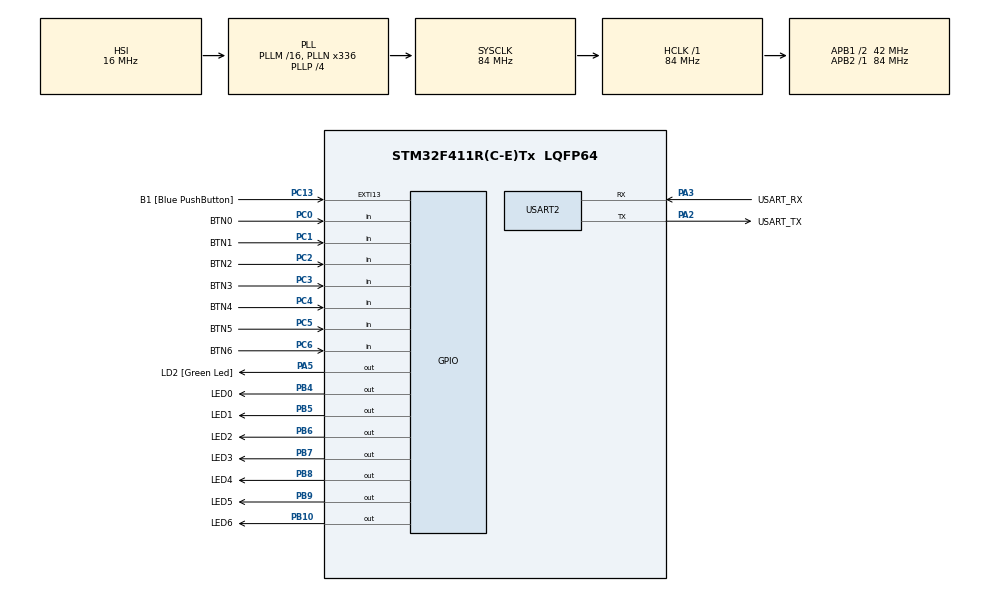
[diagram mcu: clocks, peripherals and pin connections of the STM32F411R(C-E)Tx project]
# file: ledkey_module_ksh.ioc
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Mcu.Family=STM32F4
Mcu.Name=STM32F411R(C-E)Tx
Mcu.Package=LQFP64
NVIC.PriorityGroup=NVIC_PRIORITYGROUP_0
PA13.GPIO_Label=TMS
PA13.Mode=Serial_Wire
PA13.Signal=SYS_JTMS-SWDIO
PA14.GPIO_Label=TCK
PA14.Mode=Serial_Wire
PA14.Signal=SYS_JTCK-SWCLK
PA2.GPIO_Label=USART_TX
PA2.Mode=Asynchronous
PA2.Signal=USART2_TX
PA3.GPIO_Label=USART_RX
PA3.Mode=Asynchronous
PA3.Signal=USART2_RX
PA5.GPIO_Label=LD2 [Green Led]
PA5.Signal=GPIO_Output
PB10.GPIO_Label=LED6
PB10.Signal=GPIO_Output
PB3.GPIO_Label=SWO
PB3.Signal=SYS_JTDO-SWO
PB4.GPIO_Label=LED0
PB4.Signal=GPIO_Output
PB5.GPIO_Label=LED1
PB5.Signal=GPIO_Output
PB6.GPIO_Label=LED2
PB6.Signal=GPIO_Output
PB7.GPIO_Label=LED3
PB7.Signal=GPIO_Output
PB8.GPIO_Label=LED4
PB8.Signal=GPIO_Output
PB9.GPIO_Label=LED5
PB9.Signal=GPIO_Output
PC0.GPIO_Label=BTN0
PC0.Signal=GPIO_Input
PC1.GPIO_Label=BTN1
PC1.Signal=GPIO_Input
PC13-ANTI_TAMP.GPIO_Label=B1 [Blue PushButton]
PC13-ANTI_TAMP.GPIO_ModeDefaultEXTI=GPIO_MODE_IT_FALLING
PC13-ANTI_TAMP.Signal=GPXTI13
PC14-OSC32_IN.Signal=RCC_OSC32_IN
PC15-OSC32_OUT.Signal=RCC_OSC32_OUT
PC2.GPIO_Label=BTN2
PC2.Signal=GPIO_Input
PC3.GPIO_Label=BTN3
PC3.Signal=GPIO_Input
PC4.GPIO_Label=BTN4
PC4.Signal=GPIO_Input
PC5.GPIO_Label=BTN5
PC5.Signal=GPIO_Input
PC6.GPIO_Label=BTN6
PC6.Signal=GPIO_Input
PH0\ -\ OSC_IN.Signal=RCC_OSC_IN
PH1\ -\ OSC_OUT.Signal=RCC_OSC_OUT
ProjectManager.HeapSize=0x200
ProjectManager.StackSize=0x400
ProjectManager.TargetToolchain=STM32CubeIDE
RCC.48MHZClocksFreq_Value=84000000
RCC.AHBFreq_Value=84000000
RCC.APB1CLKDivider=RCC_HCLK_DIV2
RCC.APB1Freq_Value=42000000
RCC.APB1TimFreq_Value=84000000
RCC.APB2Freq_Value=84000000
RCC.APB2TimFreq_Value=84000000
RCC.CortexFreq_Value=84000000
RCC.FLatency-AdvancedSettings=FLASH_LATENCY_2
RCC.HCLKFreq_Value=84000000
RCC.HSE_VALUE=8000000
RCC.HSI_VALUE=16000000
RCC.PLLN=336
RCC.PLLP=RCC_PLLP_DIV4
RCC.SYSCLKFreq_VALUE=84000000
RCC.SYSCLKSource=RCC_SYSCLKSOURCE_PLLCLK
RCC.VCOOutputFreq_Value=336000000
USART2.VirtualMode=VM_ASYNC
board=NUCLEO-F411RE

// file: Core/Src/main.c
/* USER CODE BEGIN Header */
/**
  ******************************************************************************
  * @file           : main.c
  * @brief          : Main program body
  ******************************************************************************
  * @attention
  *
  * Copyright (c) 2025 STMicroelectronics.
  * All rights reserved.
  *
  * This software is licensed under terms that can be found in the LICENSE file
  * in the root directory of this software component.
  * If no LICENSE file comes with this software, it is provided AS-IS.
  *
  ******************************************************************************
  */
/* USER CODE END Header */
#include "main.h"

/* USER CODE BEGIN Includes */
#include <stdio.h>
/* USER CODE END Includes */

/* USER CODE BEGIN PD */
#define LOW 0
#define HIGH 1

#ifdef __GNUC__
/* With GCC, small printf (option LD Linker->Libraries->Small printf
   set to 'Yes') calls __io_putchar() */
#define PUTCHAR_PROTOTYPE int __io_putchar(int ch)
#else
#define PUTCHAR_PROTOTYPE int fputc(int ch, FILE *f)
#endif /* __GNUC__ */
/* USER CODE END PD */

UART_HandleTypeDef huart2;

void SystemClock_Config(void);
static void MX_GPIO_Init(void);
static void MX_USART2_UART_Init(void);
/* USER CODE BEGIN PFP */
int getKeyNumber();
/* USER CODE END PFP */

int main(void)
{

  /* USER CODE BEGIN 1 */
//	int buttonState[7] = {0};
//	int buttonFlag = 0;
//	int buttonStateOld[7] = {0};
	int cnt = 0;
	int keyNumber = 0;
  /* USER CODE END 1 */

  /* MCU Configuration--------------------------------------------------------*/

  /* Reset of all peripherals, Initializes the Flash interface and the Systick. */
  HAL_Init();

  /* Configure the system clock */
  SystemClock_Config();

  /* Initialize all configured peripherals */
  MX_GPIO_Init();
  MX_USART2_UART_Init();
  /* USER CODE BEGIN 2 */
  printf("main() start!! \r\n");
  /* USER CODE END 2 */

  /* Infinite loop */
  /* USER CODE BEGIN WHILE */
  while (1)
  {

	  keyNumber = getKeyNumber();
	  if(keyNumber != 0)
	  {
			  printf("keyNum : %d, cnt : %d\r\n",keyNumber,cnt++);
			  HAL_GPIO_TogglePin(LED_GPIO_Port,keyNumber-1);
	  }

    /* USER CODE END WHILE */

  }
}

void SystemClock_Config(void)
{
  RCC_OscInitTypeDef RCC_OscInitStruct = {0};
  RCC_ClkInitTypeDef RCC_ClkInitStruct = {0};

  /** Configure the main internal regulator output voltage
  */
  __HAL_RCC_PWR_CLK_ENABLE();
  __HAL_PWR_VOLTAGESCALING_CONFIG(PWR_REGULATOR_VOLTAGE_SCALE1);

  /** Initializes the RCC Oscillators according to the specified parameters
  * in the RCC_OscInitTypeDef structure.
  */
  RCC_OscInitStruct.OscillatorType = RCC_OSCILLATORTYPE_HSI;
  RCC_OscInitStruct.HSIState = RCC_HSI_ON;
  RCC_OscInitStruct.HSICalibrationValue = RCC_HSICALIBRATION_DEFAULT;
  RCC_OscInitStruct.PLL.PLLState = RCC_PLL_ON;
  RCC_OscInitStruct.PLL.PLLSource = RCC_PLLSOURCE_HSI;
  RCC_OscInitStruct.PLL.PLLM = 16;
  RCC_OscInitStruct.PLL.PLLN = 336;
  RCC_OscInitStruct.PLL.PLLP = RCC_PLLP_DIV4;
  RCC_OscInitStruct.PLL.PLLQ = 4;
  if (HAL_RCC_OscConfig(&RCC_OscInitStruct) != HAL_OK)
  {
    Error_Handler();
  }

  /** Initializes the CPU, AHB and APB buses clocks
  */
  RCC_ClkInitStruct.ClockType = RCC_CLOCKTYPE_HCLK|RCC_CLOCKTYPE_SYSCLK
                              |RCC_CLOCKTYPE_PCLK1|RCC_CLOCKTYPE_PCLK2;
  RCC_ClkInitStruct.SYSCLKSource = RCC_SYSCLKSOURCE_PLLCLK;
  RCC_ClkInitStruct.AHBCLKDivider = RCC_SYSCLK_DIV1;
  RCC_ClkInitStruct.APB1CLKDivider = RCC_HCLK_DIV2;
  RCC_ClkInitStruct.APB2CLKDivider = RCC_HCLK_DIV1;

  if (HAL_RCC_ClockConfig(&RCC_ClkInitStruct, FLASH_LATENCY_2) != HAL_OK)
  {
    Error_Handler();
  }
}

static void MX_USART2_UART_Init(void)
{

  huart2.Instance = USART2;
  huart2.Init.BaudRate = 115200;
  huart2.Init.WordLength = UART_WORDLENGTH_8B;
  huart2.Init.StopBits = UART_STOPBITS_1;
  huart2.Init.Parity = UART_PARITY_NONE;
  huart2.Init.Mode = UART_MODE_TX_RX;
  huart2.Init.HwFlowCtl = UART_HWCONTROL_NONE;
  huart2.Init.OverSampling = UART_OVERSAMPLING_16;
  if (HAL_UART_Init(&huart2) != HAL_OK)
  {
    Error_Handler();
  }

}

static void MX_GPIO_Init(void)
{
  GPIO_InitTypeDef GPIO_InitStruct = {0};

  /* GPIO Ports Clock Enable */
  __HAL_RCC_GPIOC_CLK_ENABLE();
  __HAL_RCC_GPIOH_CLK_ENABLE();
  __HAL_RCC_GPIOA_CLK_ENABLE();
  __HAL_RCC_GPIOB_CLK_ENABLE();

  /*Configure GPIO pin Output Level */
  HAL_GPIO_WritePin(LD2_GPIO_Port, LD2_Pin, GPIO_PIN_RESET);

  /*Configure GPIO pin Output Level */
  HAL_GPIO_WritePin(GPIOB, LED6_Pin|LED0_Pin|LED1_Pin|LED2_Pin
                          |LED3_Pin|LED4_Pin|LED5_Pin, GPIO_PIN_RESET);

  /*Configure GPIO pin : B1_Pin */
  GPIO_InitStruct.Pin = B1_Pin;
  GPIO_InitStruct.Mode = GPIO_MODE_IT_FALLING;
  GPIO_InitStruct.Pull = GPIO_NOPULL;
  HAL_GPIO_Init(B1_GPIO_Port, &GPIO_InitStruct);

  /*Configure GPIO pins : BTN0_Pin BTN1_Pin BTN2_Pin BTN3_Pin
                           BTN4_Pin BTN5_Pin BTN6_Pin */
  GPIO_InitStruct.Pin = BTN0_Pin|BTN1_Pin|BTN2_Pin|BTN3_Pin
                          |BTN4_Pin|BTN5_Pin|BTN6_Pin;
  GPIO_InitStruct.Mode = GPIO_MODE_INPUT;
  GPIO_InitStruct.Pull = GPIO_NOPULL;
  HAL_GPIO_Init(GPIOC, &GPIO_InitStruct);

  /*Configure GPIO pin : LD2_Pin */
  GPIO_InitStruct.Pin = LD2_Pin;
  GPIO_InitStruct.Mode = GPIO_MODE_OUTPUT_PP;
  GPIO_InitStruct.Pull = GPIO_NOPULL;
  GPIO_InitStruct.Speed = GPIO_SPEED_FREQ_LOW;
  HAL_GPIO_Init(LD2_GPIO_Port, &GPIO_InitStruct);

  /*Configure GPIO pins : LED6_Pin LED0_Pin LED1_Pin LED2_Pin
                           LED3_Pin LED4_Pin LED5_Pin */
  GPIO_InitStruct.Pin = LED6_Pin|LED0_Pin|LED1_Pin|LED2_Pin
                          |LED3_Pin|LED4_Pin|LED5_Pin;
  GPIO_InitStruct.Mode = GPIO_MODE_OUTPUT_PP;
  GPIO_InitStruct.Pull = GPIO_NOPULL;
  GPIO_InitStruct.Speed = GPIO_SPEED_FREQ_LOW;
  HAL_GPIO_Init(GPIOB, &GPIO_InitStruct);

}

/* USER CODE BEGIN 4 */
/**
  * @brief  Retargets the C library printf function to the USART.
  * @param  None
  * @retval None
  */
PUTCHAR_PROTOTYPE
{
  /* Place your implementation of fputc here */
  /* e.g. write a character to the USART6 and Loop until the end of transmission */
  HAL_UART_Transmit(&huart2, (uint8_t *)&ch, 1, 0xFFFF);

  return ch;
}

int getKeyNumber()
{
	int keyNumber = 0;
	int buttonState=0;
	static int keyNumberOld=0;
	for(int i=0;i<7;i++)
	{
		  buttonState = HAL_GPIO_ReadPin(BTN_GPIO_Port,BTN0_Pin<<i);
		  if(buttonState)
		  {
			  keyNumber = i+1;
			  if(keyNumber != keyNumberOld)
			  {
				  keyNumberOld = keyNumber;
				  return keyNumber;  //keyNum 1 ~ 7
			  }
			  else
				  return 0;
		  }
	}
	keyNumberOld=0;
	return keyNumber;
}

/* USER CODE END 4 */

void Error_Handler(void)
{
  __disable_irq();
  while (1)
  {
  }
}
